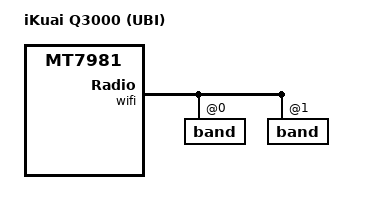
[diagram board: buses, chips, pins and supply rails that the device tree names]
// SPDX-License-Identifier: (GPL-2.0 OR MIT)

/dts-v1/;
#include "mt7981b-ikuai-q3000.dtsi"

/ {
	model = "iKuai Q3000 (UBI)";
	compatible = "ikuai,q3000-ubi", "mediatek,mt7981";
};

&chosen {
	bootargs = "root=/dev/fit0 rootwait";
	rootdisk = <&ubi_rootdisk>;
};

&partitions {
	partition@100000 {
		reg = <0x100000 0x7f00000>;
		compatible = "linux,ubi";
		label = "ubi";

		volumes {
			ubi_factory: ubi-volume-factory {
				volname = "factory";
			};

			ubi-volume-fip {
				volname = "fip";
			};

			ubi_rootdisk: ubi-volume-fit {
				volname = "fit";
			};

			ubi_ubootenv: ubi-volume-ubootenv {
				volname = "ubootenv";
			};

			ubi_ubootenv2: ubi-volume-ubootenv2 {
				volname = "ubootenv2";
			};
		};
	};
};

&ubi_factory {
	nvmem-layout {
		compatible = "fixed-layout";
		#address-cells = <1>;
		#size-cells = <1>;

		eeprom_factory_0: eeprom@0 {
			reg = <0x0 0x1000>;
		};

		macaddr_base: macaddr@10048 {
			compatible = "mac-base";
			reg = <0x10048 0x6>;
			#nvmem-cell-cells = <1>;
		};
	};
};

&ubi_ubootenv {
	nvmem-layout {
		compatible = "u-boot,env-redundant-bool";
	};
};

&ubi_ubootenv2 {
	nvmem-layout {
		compatible = "u-boot,env-redundant-bool";
	};
};

&wifi {
	status = "okay";

	#address-cells = <1>;
	#size-cells = <0>;

	nvmem-cells = <&eeprom_factory_0>;
	nvmem-cell-names = "eeprom";

	band@0 {
		reg = <0>;

		nvmem-cells = <&macaddr_base 2>;
		nvmem-cell-names = "mac-address";
	};

	band@1 {
		reg = <1>;

		nvmem-cells = <&macaddr_base 3>;
		nvmem-cell-names = "mac-address";
	};
};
